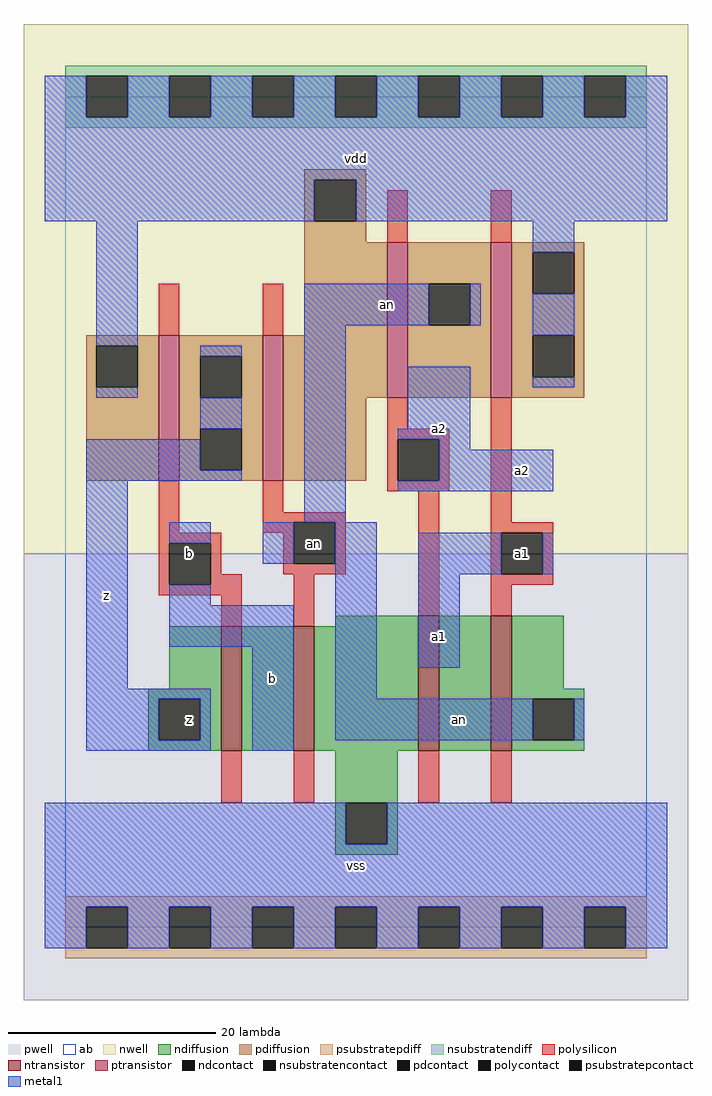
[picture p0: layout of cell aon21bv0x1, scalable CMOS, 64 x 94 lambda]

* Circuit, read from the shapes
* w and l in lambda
.subckt aon21bv0x1 a1 a2 an b vdd vss z
M1 n1 b z vss nfet w=12 l=2
M2 vss an n1 vss nfet w=12 l=2
M3 n2 a2 vss vss nfet w=13 l=2
M4 an a1 n2 vss nfet w=13 l=2
M5 z b vdd vdd pfet w=14 l=2
M6 vdd an z vdd pfet w=14 l=2
M7 an a2 vdd vdd pfet w=15 l=2
M8 vdd a1 an vdd pfet w=15 l=2
.ends

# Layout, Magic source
magic
tech scmos
<< ab >>
rect 0 0 56 80
<< pwell >>
rect -4 -7 60 36
<< nwell >>
rect -4 36 60 87
<< polysilicon >>
rect 31 66 33 71
rect 41 66 43 71
rect 9 57 11 62
rect 19 57 21 62
rect 31 48 33 51
rect 31 47 37 48
rect 31 43 32 47
rect 36 43 37 47
rect 9 38 11 43
rect 19 40 21 43
rect 31 42 37 43
rect 19 39 27 40
rect 19 38 22 39
rect 9 37 15 38
rect 9 33 10 37
rect 14 34 15 37
rect 21 35 22 38
rect 26 35 27 39
rect 21 34 27 35
rect 14 33 17 34
rect 9 32 17 33
rect 15 29 17 32
rect 22 29 24 34
rect 34 30 36 42
rect 41 39 43 51
rect 41 38 47 39
rect 41 34 42 38
rect 46 34 47 38
rect 41 33 47 34
rect 41 30 43 33
rect 15 12 17 17
rect 22 12 24 17
rect 34 12 36 17
rect 41 12 43 17
<< ndiffusion >>
rect 26 29 34 30
rect 10 23 15 29
rect 8 22 15 23
rect 8 18 9 22
rect 13 18 15 22
rect 8 17 15 18
rect 17 17 22 29
rect 24 17 34 29
rect 36 17 41 30
rect 43 23 48 30
rect 43 22 50 23
rect 43 18 45 22
rect 49 18 50 22
rect 43 17 50 18
rect 26 12 32 17
rect 26 8 27 12
rect 31 8 32 12
rect 26 7 32 8
<< pdiffusion >>
rect 23 72 29 73
rect 23 68 24 72
rect 28 68 29 72
rect 23 66 29 68
rect 23 57 31 66
rect 2 56 9 57
rect 2 52 3 56
rect 7 52 9 56
rect 2 43 9 52
rect 11 55 19 57
rect 11 51 13 55
rect 17 51 19 55
rect 11 48 19 51
rect 11 44 13 48
rect 17 44 19 48
rect 11 43 19 44
rect 21 51 31 57
rect 33 62 41 66
rect 33 58 35 62
rect 39 58 41 62
rect 33 51 41 58
rect 43 65 50 66
rect 43 61 45 65
rect 49 61 50 65
rect 43 57 50 61
rect 43 53 45 57
rect 49 53 50 57
rect 43 51 50 53
rect 21 43 29 51
<< metal1 >>
rect -2 78 2 82
rect 6 78 10 82
rect 14 78 18 82
rect 22 78 26 82
rect 30 78 34 82
rect 38 78 42 82
rect 46 78 50 82
rect 54 78 58 82
rect -2 72 58 78
rect -2 68 24 72
rect 28 68 58 72
rect 3 56 7 68
rect 45 65 49 68
rect 23 58 35 62
rect 39 58 40 62
rect 3 51 7 52
rect 13 55 17 56
rect 13 48 17 51
rect 2 44 13 47
rect 2 43 17 44
rect 2 23 6 43
rect 23 39 27 58
rect 45 57 49 61
rect 33 48 39 54
rect 45 52 49 53
rect 32 47 39 48
rect 36 46 39 47
rect 36 43 47 46
rect 32 42 47 43
rect 10 37 14 39
rect 19 35 22 39
rect 10 31 14 33
rect 10 27 22 31
rect 2 22 14 23
rect 2 18 9 22
rect 13 18 14 22
rect 2 17 14 18
rect 18 17 22 27
rect 26 22 30 39
rect 34 34 42 38
rect 46 34 47 38
rect 34 25 38 34
rect 26 18 45 22
rect 49 18 50 22
rect -2 8 27 12
rect 31 8 58 12
rect -2 2 58 8
rect -2 -2 2 2
rect 6 -2 10 2
rect 14 -2 18 2
rect 22 -2 26 2
rect 30 -2 34 2
rect 38 -2 42 2
rect 46 -2 50 2
rect 54 -2 58 2
<< ntransistor >>
rect 15 17 17 29
rect 22 17 24 29
rect 34 17 36 30
rect 41 17 43 30
<< ptransistor >>
rect 9 43 11 57
rect 19 43 21 57
rect 31 51 33 66
rect 41 51 43 66
<< polycontact >>
rect 32 43 36 47
rect 10 33 14 37
rect 22 35 26 39
rect 42 34 46 38
<< ndcontact >>
rect 9 18 13 22
rect 45 18 49 22
rect 27 8 31 12
<< pdcontact >>
rect 24 68 28 72
rect 3 52 7 56
rect 13 51 17 55
rect 13 44 17 48
rect 35 58 39 62
rect 45 61 49 65
rect 45 53 49 57
<< psubstratepcontact >>
rect 2 -2 6 2
rect 10 -2 14 2
rect 18 -2 22 2
rect 26 -2 30 2
rect 34 -2 38 2
rect 42 -2 46 2
rect 50 -2 54 2
<< nsubstratencontact >>
rect 2 78 6 82
rect 10 78 14 82
rect 18 78 22 82
rect 26 78 30 82
rect 34 78 38 82
rect 42 78 46 82
rect 50 78 54 82
<< psubstratepdiff >>
rect 0 2 56 3
rect 0 -2 2 2
rect 6 -2 10 2
rect 14 -2 18 2
rect 22 -2 26 2
rect 30 -2 34 2
rect 38 -2 42 2
rect 46 -2 50 2
rect 54 -2 56 2
rect 0 -3 56 -2
<< nsubstratendiff >>
rect 0 82 56 83
rect 0 78 2 82
rect 6 78 10 82
rect 14 78 18 82
rect 22 78 26 82
rect 30 78 34 82
rect 38 78 42 82
rect 46 78 50 82
rect 54 78 56 82
rect 0 77 56 78
<< labels >>
rlabel polycontact 24 37 24 37 6 an
rlabel metal1 4 32 4 32 6 z
rlabel ndcontact 12 20 12 20 6 z
rlabel polycontact 12 36 12 36 6 b
rlabel metal1 20 24 20 24 6 b
rlabel metal1 28 6 28 6 6 vss
rlabel polycontact 24 37 24 37 6 an
rlabel metal1 36 28 36 28 6 a1
rlabel metal1 36 48 36 48 6 a2
rlabel metal1 31 60 31 60 6 an
rlabel metal1 28 74 28 74 6 vdd
rlabel metal1 38 20 38 20 6 an
rlabel polycontact 44 36 44 36 6 a1
rlabel metal1 44 44 44 44 6 a2
<< end >>
